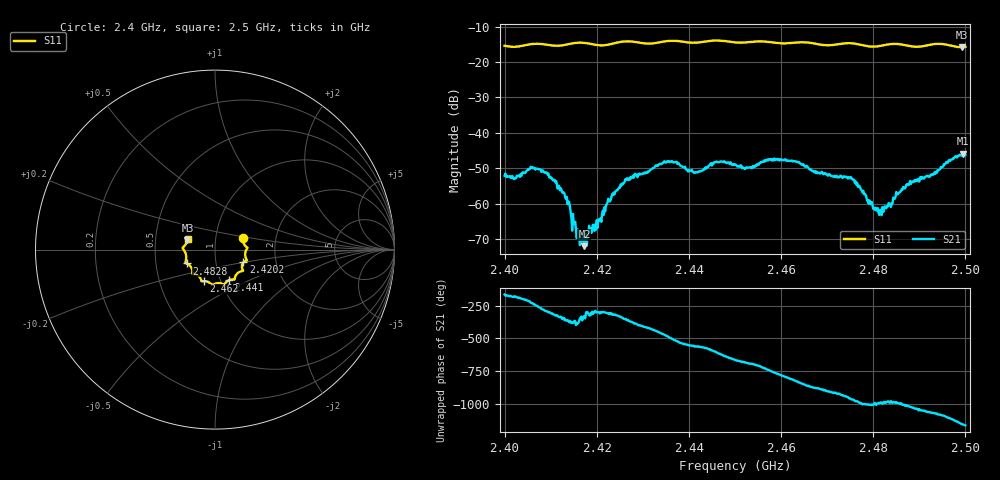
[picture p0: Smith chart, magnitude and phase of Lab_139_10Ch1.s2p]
# Hz S RI R 50
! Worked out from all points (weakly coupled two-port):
!   601 points, 2.4 GHz to 2.5 GHz, reference 50 ohm
!   highest |S21| = -45.82 dB at 2.4995 GHz (marker M1); lowest = -72.0 dB at 2.4173 GHz (marker M2)
!   lowest |S11| = -15.8 dB at 2.4993 GHz (marker M3), VSWR 1.39, Z = 36.5 + j3.84 ohm
!   |S11| at or under -10 dB: start of sweep to end of sweep
!   S12 and S22 are empty: the file has one direction only
!   S11 on the Smith chart (normalised r, x): 2.4 GHz: 1.36, +0.18; 2.4202 GHz: 1.36, -0.20; 2.441 GHz: 1.10, -0.39; 2.462 GHz: 0.84, -0.30; 2.4828 GHz: 0.72, -0.11; 2.5 GHz: 0.73, +0.09
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2.4e9  0.1575 0.0627  -0.00243 -0.00059  0 0  0 0
2.406e9  0.1792 0.0119  -0.00208 0.00254  0 0  0 0
2.409e9  0.1762 0.00227  0.00106 0.00256  0 0  0 0
2.4135e9  0.171 -0.0446  0.00125 -8.14e-06  0 0  0 0
2.416667e9  0.1777 -0.0601  0.000272 0.000129  0 0  0 0
2.417333e9  0.176 -0.061  0.000241 7.25e-05  0 0  0 0
2.420167e9  0.1583 -0.0708  0.000214 0.000401  0 0  0 0
2.426167e9  0.1569 -0.1174  0.0022 0.000214  0 0  0 0
2.433333e9  0.1122 -0.1511  2.52e-05 -0.00349  0 0  0 0
2.436833e9  0.1089 -0.1671  -0.00346 -0.00172  0 0  0 0
2.441e9  0.0787 -0.1696  -0.00268 0.0008  0 0  0 0
2.45e9  0.0286 -0.1872  0.00194 0.00294  0 0  0 0
2.462e9  -0.0604 -0.1754  4.12e-05 -0.00402  0 0  0 0
2.466667e9  -0.0779 -0.1683  -0.00254 -0.00148  0 0  0 0
2.475167e9  -0.1268 -0.1339  -0.00112 0.0021  0 0  0 0
2.480833e9  -0.1413 -0.0875  7.84e-05 0.000806  0 0  0 0
2.482833e9  -0.1576 -0.0773  -2.58e-05 0.000863  0 0  0 0
2.483333e9  -0.1607 -0.0759  -0.000174 0.00101  0 0  0 0
2.487667e9  -0.1607 -0.0535  0.000797 0.00165  0 0  0 0
2.499333e9  -0.1534 0.0511  0.00143 -0.00469  0 0  0 0
2.4995e9  -0.1531 0.0535  0.00125 -0.00496  0 0  0 0
2.5e9  -0.1518 0.0612  0.000595 -0.00481  0 0  0 0
